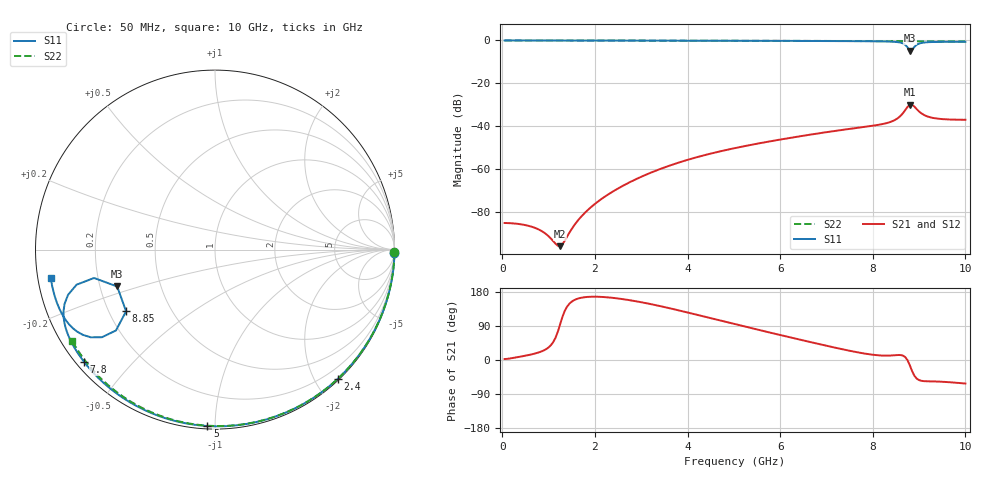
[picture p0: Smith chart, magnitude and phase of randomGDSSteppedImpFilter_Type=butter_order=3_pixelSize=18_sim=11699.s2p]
! freq	dB(S11)	phase(S11)	dB(S12)	phase(S12)
!  dB(S21)	phase(S21)	dB(S22)	phase(S22)
!S-par simulation data
#  GHz  S  DB  R 50
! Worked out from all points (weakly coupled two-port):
!   200 points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, 50 MHz to 10 GHz, reference 50 ohm
!   highest |S21| = -29.86 dB at 8.8 GHz (marker M1); lowest = -95.7 dB at 1.25 GHz (marker M2)
!   lowest |S11| = -4.7 dB at 8.8 GHz (marker M3), VSWR 3.79, Z = 13.6 - j8.46 ohm
!   |S11| at or under -10 dB: nowhere
!   |S22| runs from -0.5 to 0.0 dB; largest |S21 - S12| = 0
!   S11 on the Smith chart (normalised r, x): 50 MHz: open; 2.4 GHz: 0.02, -2.33; 5 GHz: 0.02, -0.96; 7.8 GHz: 0.02, -0.37; 8.85 GHz: 0.27, -0.29; 10 GHz: 0.04, -0.09
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0.05  -0.00 -1.0  -84.89 2.6  -84.89 2.6  -0.00 -0.9
1.25  -0.03 -24.5  -95.67 94.8  -95.67 94.8  -0.03 -21.2
1.75  -0.04 -34.1  -80.89 165.3  -80.89 165.3  -0.04 -29.5
2.4  -0.06 -46.4  -70.09 163.8  -70.09 163.8  -0.05 -40.1
2.85  -0.07 -54.7  -64.90 155.8  -64.90 155.8  -0.06 -47.3
3.4  -0.09 -64.7  -59.86 142.5  -59.86 142.5  -0.07 -55.9
4.15  -0.11 -77.9  -54.60 120.9  -54.60 120.9  -0.09 -67.4
5  -0.14 -92.5  -50.17 95.3  -50.17 95.3  -0.12 -80.0
5.05  -0.14 -93.3  -49.94 93.8  -49.94 93.8  -0.12 -80.7
6.7  -0.24 -120.6  -43.63 46.0  -43.63 46.0  -0.20 -103.9
7.8  -0.35 -139.3  -40.27 17.5  -40.27 17.5  -0.28 -118.6
8.35  -0.50 -151.0  -38.12 11.6  -38.12 11.6  -0.32 -125.8
8.5  -0.68 -155.7  -36.72 12.8  -36.72 12.8  -0.34 -127.8
8.65  -1.34 -162.9  -33.87 11.7  -33.87 11.7  -0.35 -129.7
8.75  -3.20 -166.8  -30.92 -0.4  -30.92 -0.4  -0.36 -131.0
8.8  -4.70 -159.3  -29.86 -14.0  -29.86 -14.0  -0.36 -131.7
8.85  -4.39 -145.2  -29.87 -29.6  -29.87 -29.6  -0.36 -132.3
8.9  -2.95 -140.8  -30.78 -41.9  -30.78 -41.9  -0.37 -133.0
8.95  -1.97 -142.2  -31.97 -49.2  -31.97 -49.2  -0.38 -133.7
9.05  -1.15 -147.1  -33.90 -54.9  -33.90 -54.9  -0.39 -135.0
9.2  -0.79 -152.7  -35.49 -56.3  -35.49 -56.3  -0.41 -136.9
10  -0.64 -170.2  -36.90 -62.1  -36.90 -62.1  -0.50 -147.3
